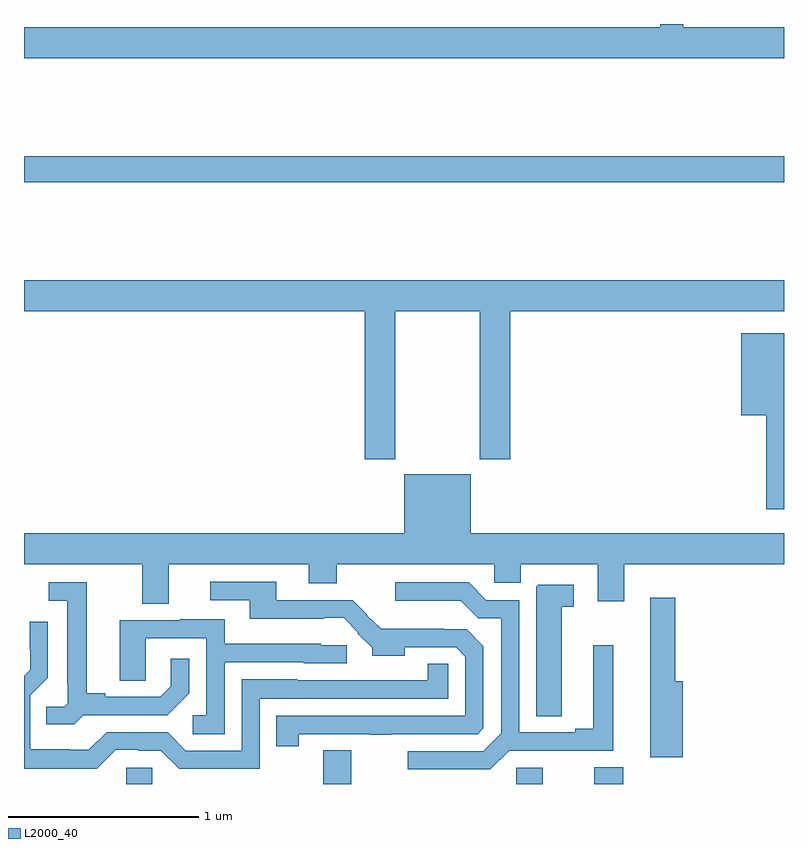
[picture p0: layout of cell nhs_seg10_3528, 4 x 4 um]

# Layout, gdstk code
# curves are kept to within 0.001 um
import gdstk
lib = gdstk.Library(unit=1e-6, precision=1e-09)
def R(c, l, rs):  # rectangles x0, y0, x1, y1
    for r in rs: c.add(gdstk.rectangle(r[:2], r[2:], *l))
def P(c, l, *ps):  # polygons
    for p in ps: c.add(gdstk.Polygon(p, *l))
L2000_40 = (2000, 40)

nhs_seg10_3528 = lib.new_cell('nhs_seg10_3528')
R(nhs_seg10_3528, L2000_40, [(303.537,1292.5,303.675,1292.586), (304.576,1292.5,304.723,1292.678), (305.592,1292.5,305.731,1292.586), (306.002,1292.5,306.155,1292.587), (303,1295.668,307,1295.804)])
P(nhs_seg10_3528, L2000_40, [(307,1296.484),(306.469,1296.484),(306.469,1296.5),(306.348,1296.5),(306.348,1296.484),(303,1296.484),(303,1296.32),(307,1296.32)],
  [(304.953,1294.988),(305.398,1294.988),(305.398,1294.209),(305.558,1294.209),(305.558,1294.988),(307,1294.988),(307,1295.152),(303,1295.152),(303,1294.988),(304.793,1294.988),(304.793,1294.209),(304.953,1294.209)],
  [(307,1294.873),(306.776,1294.873),(306.776,1294.442),(306.906,1294.442),(306.906,1293.945),(307,1293.945)],
  [(303.763,1293.656),(304.499,1293.656),(304.499,1293.557),(304.647,1293.557),(304.647,1293.656),(305.475,1293.656),(305.475,1293.558),(305.614,1293.558),(305.614,1293.656),(306.02,1293.656),(306.02,1293.462),(306.16,1293.462),(306.16,1293.656),(307,1293.656),(307,1293.82),(305.35,1293.82),(305.35,1294.129),(305,1294.129),(305,1293.82),(303,1293.82),(303,1293.656),(303.623,1293.656),(303.623,1293.448),(303.763,1293.448)],
  [(304.446,1292.763),(304.819,1292.763),(304.819,1292.758),(304.931,1292.758),(304.931,1292.763),(305.388,1292.763),(305.418,1292.793),(305.418,1293.225),(305.329,1293.314),(305.213,1293.314),(305.213,1293.316),(304.879,1293.316),(304.805,1293.389),(304.807,1293.391),(304.731,1293.468),(304.327,1293.468),(304.327,1293.564),(303.981,1293.564),(303.981,1293.468),(304.187,1293.468),(304.187,1293.371),(304.58,1293.371),(304.58,1293.374),(304.682,1293.374),(304.758,1293.297),(304.755,1293.294),(304.834,1293.216),(304.834,1293.176),(305.005,1293.176),(305.005,1293.219),(305.274,1293.219),(305.322,1293.171),(305.322,1292.859),(304.327,1292.859),(304.327,1292.7),(304.446,1292.7)],
  [(303.312,1292.862),(303.754,1292.862),(303.87,1292.978),(303.87,1293.16),(303.773,1293.16),(303.773,1293.015),(303.716,1292.958),(303.427,1292.958),(303.427,1292.978),(303.331,1292.978),(303.331,1293.561),(303.129,1293.561),(303.129,1293.465),(303.227,1293.465),(303.227,1293.025),(303.231,1293.025),(303.231,1292.925),(303.213,1292.907),(303.118,1292.907),(303.118,1292.815),(303.264,1292.815)],
  [(305.554,1292.676),(306.1,1292.676),(306.1,1293.229),(305.996,1293.229),(305.996,1292.792),(305.9,1292.792),(305.9,1292.772),(305.607,1292.772),(305.607,1293.468),(305.433,1293.468),(305.34,1293.561),(304.953,1293.561),(304.953,1293.464),(305.299,1293.464),(305.39,1293.373),(305.511,1293.373),(305.511,1292.766),(305.418,1292.673),(305.019,1292.673),(305.019,1292.577),(305.455,1292.577)],
  [(305.83,1293.433),(305.893,1293.433),(305.893,1293.549),(305.706,1293.549),(305.696,1293.539),(305.696,1292.857),(305.83,1292.857)],
  [(306.467,1293.04),(306.428,1293.04),(306.428,1293.481),(306.296,1293.481),(306.296,1292.642),(306.467,1292.642)],
  [(304.056,1293.141),(304.473,1293.141),(304.473,1293.135),(304.698,1293.135),(304.698,1293.231),(304.563,1293.231),(304.563,1293.238),(304.057,1293.238),(304.057,1293.367),(303.821,1293.367),(303.821,1293.363),(303.503,1293.363),(303.503,1293.043),(303.642,1293.043),(303.642,1293.267),(303.96,1293.267),(303.96,1292.862),(303.888,1292.862),(303.888,1292.761),(304.056,1292.761)],
  [(303.483,1292.679),(303.6,1292.679),(303.6,1292.676),(303.72,1292.676),(303.816,1292.58),(304.242,1292.58),(304.242,1292.949),(305.232,1292.949),(305.232,1293.134),(305.124,1293.134),(305.124,1293.046),(304.437,1293.045),(304.437,1293.052),(304.146,1293.052),(304.146,1292.676),(303.852,1292.676),(303.756,1292.772),(303.435,1292.772),(303.342,1292.679),(303.242,1292.679),(303.242,1292.683),(303.033,1292.683),(303.033,1292.967),(303.126,1293.06),(303.126,1293.355),(303.03,1293.355),(303.03,1293.208),(303.032,1293.208),(303.032,1293.102),(303,1293.07),(303,1292.579),(303.383,1292.579)])

lib.write_gds('nhs_seg10_3528.gds')
